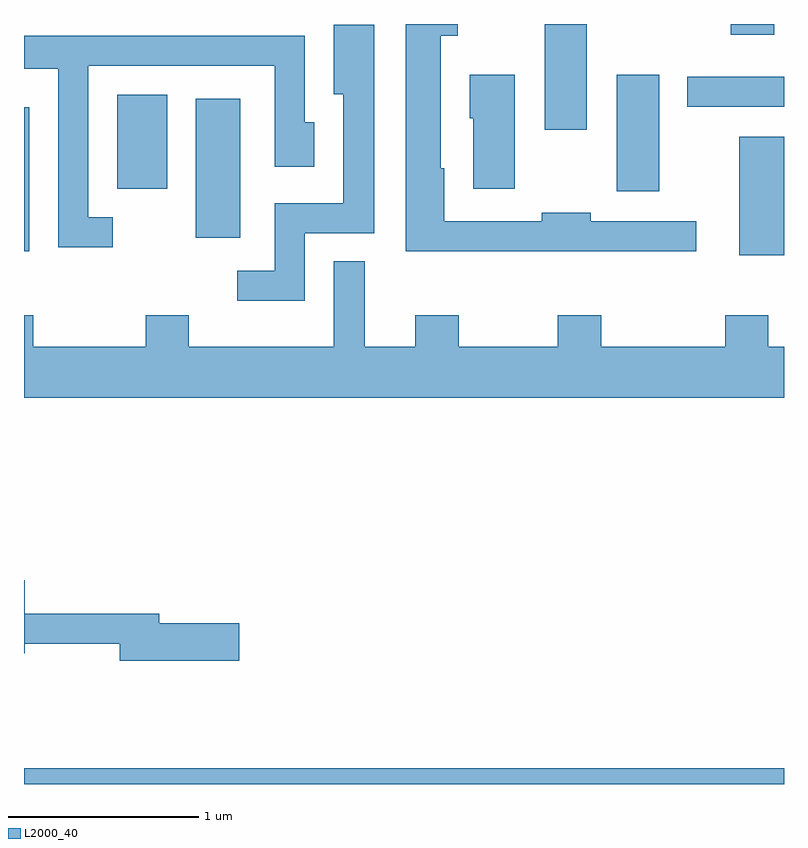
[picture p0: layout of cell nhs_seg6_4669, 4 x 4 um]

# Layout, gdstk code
import gdstk
lib = gdstk.Library(unit=1e-6, precision=1e-09)
def R(c, l, rs):  # rectangles x0, y0, x1, y1
    for r in rs: c.add(gdstk.rectangle(r[:2], r[2:], *l))
def P(c, l, *ps):  # polygons
    for p in ps: c.add(gdstk.Polygon(p, *l))
L2000_40 = (2000, 40)

nhs_seg6_4669 = lib.new_cell('nhs_seg6_4669')
R(nhs_seg6_4669, L2000_40, [(327.611,1610.162,331.611,1610.244), (331.376,1612.946,331.611,1613.569), (327.611,1612.966,327.639,1613.724), (328.516,1613.036,328.749,1613.769), (330.731,1613.281,330.954,1613.894), (328.101,1613.296,328.364,1613.789), (330.351,1613.606,330.574,1614.162), (331.103,1613.726,331.611,1613.884), (331.331,1614.106,331.559,1614.162)])
P(nhs_seg6_4669, L2000_40, [(331.148,1613.124),(330.594,1613.124),(330.594,1613.169),(330.336,1613.169),(330.336,1613.124),(329.824,1613.124),(329.824,1613.404),(329.804,1613.404),(329.804,1614.101),(329.893,1614.101),(329.893,1614.162),(329.621,1614.162),(329.621,1612.966),(331.148,1612.966)],
  [(329.089,1613.061),(329.454,1613.061),(329.454,1614.159),(329.241,1614.159),(329.241,1613.791),(329.291,1613.791),(329.291,1613.219),(328.931,1613.219),(328.931,1612.864),(328.733,1612.864),(328.733,1612.706),(329.089,1612.706)],
  [(328.078,1613.144),(327.949,1613.144),(327.949,1613.941),(328.931,1613.941),(328.931,1613.411),(329.139,1613.411),(329.139,1613.644),(329.089,1613.644),(329.089,1614.099),(327.611,1614.099),(327.611,1613.926),(327.791,1613.926),(327.791,1612.986),(328.078,1612.986)],
  [(330.194,1613.894),(329.956,1613.894),(329.956,1613.666),(329.976,1613.666),(329.976,1613.296),(330.194,1613.296)],
  [(331.611,1612.464),(331.529,1612.464),(331.529,1612.629),(331.301,1612.629),(331.301,1612.464),(330.649,1612.464),(330.649,1612.629),(330.421,1612.629),(330.421,1612.464),(329.899,1612.464),(329.899,1612.629),(329.671,1612.629),(329.671,1612.464),(329.404,1612.464),(329.404,1612.913),(329.241,1612.913),(329.241,1612.464),(328.479,1612.464),(328.479,1612.629),(328.251,1612.629),(328.251,1612.464),(327.659,1612.464),(327.659,1612.629),(327.611,1612.629),(327.611,1612.196),(331.611,1612.196)],
  [(328.744,1611.009),(328.324,1611.009),(328.324,1611.059),(327.614,1611.059),(327.614,1611.234),(327.611,1611.234),(327.611,1610.851),(327.614,1610.851),(327.614,1610.901),(328.116,1610.901),(328.116,1610.811),(328.744,1610.811)])

lib.write_gds('nhs_seg6_4669.gds')
